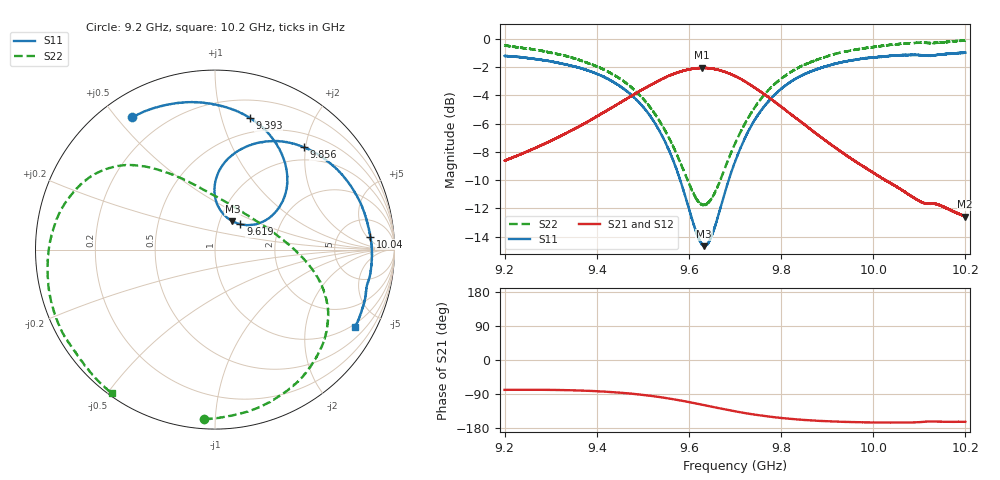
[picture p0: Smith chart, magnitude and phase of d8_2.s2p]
!Agilent Technologies,N5242A,MY51221714,A.09.90.19
!Agilent N5242A: A.09.90.19
!Date: Saturday, March 16, 2024 08:58:18
!Correction: S11(Full 2 Port(1,2))
!S21(Full 2 Port(1,2))
!S12(Full 2 Port(1,2))
!S22(Full 2 Port(1,2))
!S2P File: Measurements: S11, S21, S12, S22:
# Hz S  dB  R 50
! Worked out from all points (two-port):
!   16001 points, 9.2 GHz to 10.2 GHz, reference 50 ohm
!   highest |S21| = -2.06 dB at 9.629 GHz (marker M1); lowest = -12.6 dB at 10.2 GHz (marker M2)
!   |S21| within 3 dB of the highest: 9.423 GHz to 9.81 GHz (386.7 MHz wide, 4.02 % of centre)
!   lowest |S11| = -14.7 dB at 9.633 GHz (marker M3), VSWR 1.45, Z = 57.4 + j18.7 ohm
!   |S11| at or under -10 dB: 9.581 GHz to 9.686 GHz (105.3 MHz wide, 1.09 % of centre)
!   |S22| runs from -11.8 to -0.1 dB; largest |S21 - S12| = 0.0085
!   S11 on the Smith chart (normalised r, x): 9.2 GHz: 0.09, +0.55; 9.393 GHz: 0.36, +1.23; 9.619 GHz: 1.27, +0.37; 9.856 GHz: 0.74, +1.96; 10.04 GHz: 11, +6; 10.2 GHz: 0.88, -3.70
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9.2e9  -1.22 122.0  -8.63 -78.8  -8.62 -79.3  -0.48 -93.6
9.27775e9  -1.49 104.1  -7.57 -78.7  -7.55 -79.1  -0.85 -72.5
9.366688e9  -2.11 82.3  -6.11 -80.7  -6.10 -81.2  -1.56 -49.5
9.393e9  -2.39 75.3  -5.63 -81.9  -5.62 -82.5  -1.87 -42.9
9.469438e9  -3.83 54.2  -4.17 -88.2  -4.15 -88.7  -3.30 -24.7
9.533375e9  -6.35 36.9  -2.99 -97.3  -2.98 -97.7  -5.67 -8.4
9.579938e9  -9.90 30.2  -2.35 -106.5  -2.33 -107.0  -8.65 10.4
9.619125e9  -13.97 44.9  -2.08 -115.6  -2.08 -116.1  -11.45 42.6
9.628688e9  -14.54 54.2  -2.06 -118.0  -2.06 -118.5  -11.69 53.7
9.632688e9  -14.66 58.5  -2.08 -119.0  -2.07 -119.5  -11.75 58.6
9.650812e9  -13.84 76.7  -2.12 -123.6  -2.11 -124.1  -11.20 79.2
9.7e9  -8.70 90.0  -2.64 -135.3  -2.62 -135.9  -7.41 113.8
9.73425e9  -6.21 83.6  -3.28 -142.5  -3.27 -143.1  -5.29 125.2
9.77975e9  -4.17 70.9  -4.30 -150.1  -4.31 -150.7  -3.40 135.9
9.855562e9  -2.44 49.1  -6.20 -158.7  -6.18 -159.1  -1.77 151.5
9.866688e9  -2.29 46.1  -6.48 -159.6  -6.46 -160.1  -1.62 153.7
9.95125e9  -1.54 24.3  -8.46 -163.7  -8.46 -164.2  -0.85 172.6
1.003338e10  -1.24 5.2  -10.14 -165.0  -10.13 -165.5  -0.45 -167.9
1.003506e10  -1.22 4.7  -10.17 -165.0  -10.16 -165.6  -0.44 -167.6
1.0107e10  -1.17 -10.9  -11.58 -163.4  -11.58 -163.9  -0.29 -150.0
1.019981e10  -1.00 -28.8  -12.58 -163.1  -12.57 -163.6  -0.13 -125.8
1.02e10  -1.00 -28.8  -12.57 -163.1  -12.58 -163.5  -0.14 -125.7
